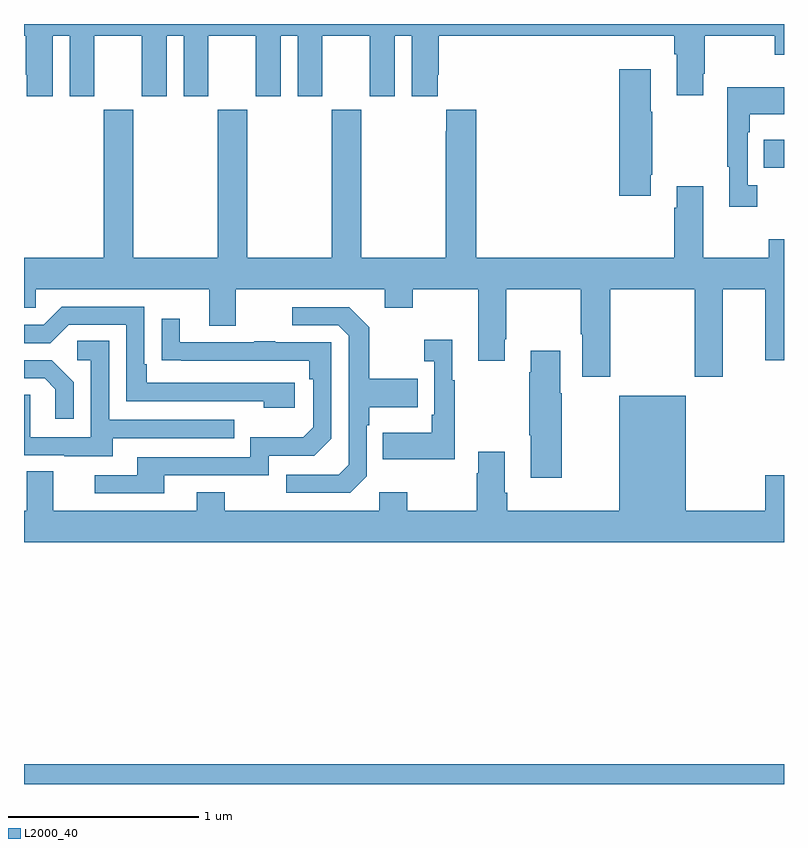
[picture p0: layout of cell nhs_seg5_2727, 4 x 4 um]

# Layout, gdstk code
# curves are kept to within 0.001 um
import gdstk
lib = gdstk.Library(unit=1e-6, precision=1e-09)
def R(c, l, rs):  # rectangles x0, y0, x1, y1
    for r in rs: c.add(gdstk.rectangle(r[:2], r[2:], *l))
def P(c, l, *ps):  # polygons
    for p in ps: c.add(gdstk.Polygon(p, *l))
L2000_40 = (2000, 40)

nhs_seg5_2727 = lib.new_cell('nhs_seg5_2727')
R(nhs_seg5_2727, L2000_40, [(269,876.799,273,876.904), (272.893,880.042,273,880.189)])
P(nhs_seg5_2727, L2000_40, [(269,880.736),(269.009,880.736),(269.009,880.531),(269.015,880.531),(269.015,880.419),(269.152,880.419),(269.152,880.736),(269.24,880.736),(269.24,880.419),(269.371,880.419),(269.371,880.736),(269.621,880.736),(269.621,880.419),(269.752,880.419),(269.752,880.736),(269.84,880.736),(269.84,880.419),(269.971,880.419),(269.971,880.736),(270.221,880.736),(270.221,880.419),(270.352,880.419),(270.352,880.736),(270.44,880.736),(270.44,880.419),(270.571,880.419),(270.571,880.736),(270.821,880.736),(270.821,880.419),(270.952,880.419),(270.952,880.736),(271.04,880.736),(271.04,880.419),(271.177,880.419),(271.177,880.531),(271.184,880.531),(271.184,880.736),(272.423,880.736),(272.423,880.64),(272.435,880.64),(272.435,880.425),(272.575,880.425),(272.575,880.537),(272.583,880.537),(272.583,880.736),(272.95,880.736),(272.95,880.637),(273,880.637),(273,880.799),(269,880.799)],
  [(272.299,880.006),(272.307,880.006),(272.307,880.337),(272.299,880.337),(272.299,880.561),(272.132,880.561),(272.132,879.894),(272.299,879.894)],
  [(272.86,879.95),(272.808,879.95),(272.808,880.229),(272.821,880.229),(272.821,880.325),(273,880.325),(273,880.465),(272.7,880.465),(272.7,880.049),(272.711,880.049),(272.711,879.837),(272.86,879.837)],
  [(270.774,880.348),(270.619,880.348),(270.619,879.568),(270.174,879.568),(270.174,880.348),(270.019,880.348),(270.019,879.568),(269.574,879.568),(269.574,880.348),(269.419,880.348),(269.419,879.568),(269,879.568),(269,879.306),(269.061,879.306),(269.061,879.404),(269.975,879.404),(269.975,879.21),(270.115,879.21),(270.115,879.404),(270.899,879.404),(270.899,879.305),(271.047,879.305),(271.047,879.404),(271.391,879.404),(271.391,879.027),(271.531,879.027),(271.531,879.139),(271.539,879.139),(271.539,879.404),(271.93,879.404),(271.93,879.166),(271.937,879.166),(271.937,878.943),(272.085,878.943),(272.085,879.404),(272.53,879.404),(272.53,878.943),(272.677,878.943),(272.677,879.404),(272.9,879.404),(272.9,879.03),(273,879.03),(273,879.667),(272.92,879.667),(272.92,879.568),(272.575,879.568),(272.575,879.946),(272.435,879.946),(272.435,879.833),(272.423,879.833),(272.423,879.568),(271.379,879.568),(271.379,880.348),(271.223,880.348),(271.223,880.235),(271.219,880.235),(271.219,879.568),(270.774,879.568)],
  [(270.424,878.91),(269.647,878.91),(269.647,879.007),(269.634,879.007),(269.634,879.312),(269.199,879.312),(269.103,879.216),(269,879.216),(269,879.12),(269.139,879.12),(269.235,879.216),(269.538,879.216),(269.538,878.814),(270.263,878.814),(270.263,878.78),(270.424,878.78)],
  [(270.804,878.418),(270.804,878.687),(270.817,878.687),(270.817,878.783),(271.073,878.783),(271.073,878.931),(270.817,878.931),(270.817,879.203),(270.711,879.309),(270.411,879.309),(270.411,879.213),(270.654,879.213),(270.708,879.159),(270.708,878.478),(270.657,878.427),(270.381,878.427),(270.381,878.331),(270.717,878.331)],
  [(269.737,878.424),(270.288,878.424),(270.288,878.526),(270.528,878.526),(270.618,878.616),(270.618,879.123),(270.323,879.123),(270.323,879.128),(270.211,879.128),(270.211,879.123),(269.821,879.123),(269.821,879.247),(269.725,879.247),(269.725,879.028),(270.502,879.027),(270.502,878.93),(270.522,878.93),(270.522,878.676),(270.469,878.623),(270.192,878.623),(270.192,878.52),(269.597,878.52),(269.597,878.424),(269.373,878.424),(269.373,878.328),(269.737,878.328)],
  [(271.267,878.923),(271.255,878.923),(271.255,879.136),(271.107,879.136),(271.107,879.023),(271.158,879.023),(271.158,878.743),(271.146,878.743),(271.146,878.647),(270.889,878.647),(270.889,878.507),(271.267,878.507)],
  [(269.467,878.619),(270.107,878.619),(270.107,878.715),(269.448,878.715),(269.448,879.131),(269.28,879.131),(269.28,879.03),(269.352,879.03),(269.352,878.625),(269.034,878.625),(269.034,878.849),(269,878.849),(269,878.529),(269.213,878.529),(269.213,878.525),(269.467,878.525)],
  [(271.83,878.855),(271.822,878.855),(271.822,879.079),(271.667,879.079),(271.667,878.966),(271.66,878.966),(271.66,878.635),(271.667,878.635),(271.667,878.412),(271.83,878.412)],
  [(269.262,878.914),(269.146,879.03),(269,879.03),(269,878.934),(269.108,878.934),(269.165,878.877),(269.165,878.721),(269.262,878.721)],
  [(273,878.425),(272.9,878.425),(272.9,878.236),(272.482,878.236),(272.482,878.842),(272.132,878.842),(272.132,878.236),(271.544,878.236),(271.544,878.332),(271.531,878.332),(271.531,878.548),(271.391,878.548),(271.391,878.435),(271.384,878.435),(271.384,878.236),(271.017,878.236),(271.017,878.335),(270.87,878.335),(270.87,878.236),(270.057,878.236),(270.057,878.335),(269.909,878.335),(269.909,878.236),(269.155,878.236),(269.155,878.444),(269.015,878.444),(269.015,878.236),(269,878.236),(269,878.072),(273,878.072)])

lib.write_gds('nhs_seg5_2727.gds')
